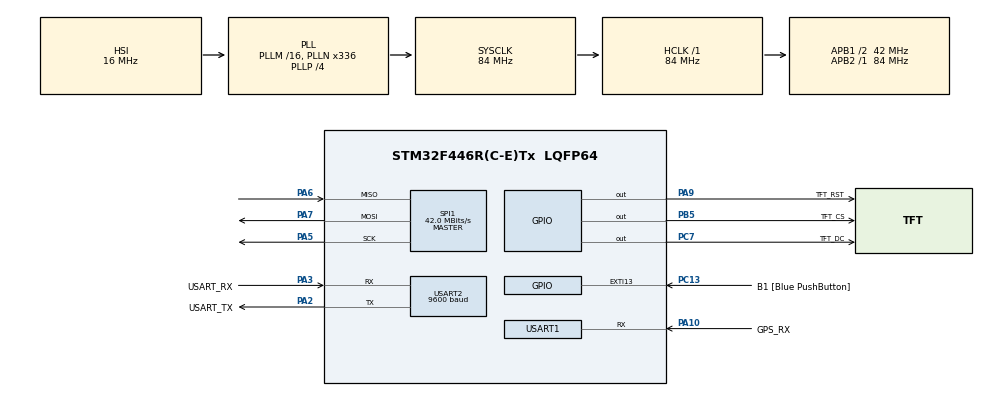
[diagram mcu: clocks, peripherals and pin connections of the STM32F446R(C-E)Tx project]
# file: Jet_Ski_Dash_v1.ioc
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Mcu.Family=STM32F4
Mcu.Name=STM32F446R(C-E)Tx
Mcu.Package=LQFP64
NVIC.PriorityGroup=NVIC_PRIORITYGROUP_0
NVIC.USART1_IRQn=true\:0\:0\:true\:false\:true\:true\:true\:true
PA13.GPIO_Label=TMS
PA13.Mode=Serial_Wire
PA13.Signal=SYS_JTMS-SWDIO
PA14.GPIO_Label=TCK
PA14.Mode=Serial_Wire
PA14.Signal=SYS_JTCK-SWCLK
PA2.GPIO_Label=USART_TX
PA2.Mode=Asynchronous
PA2.Signal=USART2_TX
PA10.GPIO_Label=GPS_RX
PA10.Mode=Asynchronous
PA10.Signal=USART1_RX
PA3.GPIO_Label=USART_RX
PA3.Mode=Asynchronous
PA3.Signal=USART2_RX
PA5.Mode=Full_Duplex_Master
PA5.Signal=SPI1_SCK
PA6.Mode=Full_Duplex_Master
PA6.Signal=SPI1_MISO
PA7.Mode=Full_Duplex_Master
PA7.Signal=SPI1_MOSI
PA9.GPIO_Label=TFT_RST
PA9.Signal=GPIO_Output
PB3.GPIO_Label=SWO
PB3.Signal=SYS_JTDO-SWO
PB5.GPIO_Label=TFT_CS
PB5.Signal=GPIO_Output
PC13.GPIO_Label=B1 [Blue PushButton]
PC13.GPIO_ModeDefaultEXTI=GPIO_MODE_IT_FALLING
PC13.Signal=GPXTI13
PC14-OSC32_IN.Mode=LSE-External-Oscillator
PC14-OSC32_IN.Signal=RCC_OSC32_IN
PC15-OSC32_OUT.Mode=LSE-External-Oscillator
PC15-OSC32_OUT.Signal=RCC_OSC32_OUT
PC7.GPIO_Label=TFT_DC
PC7.Signal=GPIO_Output
PH0-OSC_IN.Mode=HSE-External-Oscillator
PH0-OSC_IN.Signal=RCC_OSC_IN
PH1-OSC_OUT.Mode=HSE-External-Oscillator
PH1-OSC_OUT.Signal=RCC_OSC_OUT
ProjectManager.HeapSize=0x200
ProjectManager.StackSize=0x400
ProjectManager.TargetToolchain=STM32CubeIDE
RCC.48MHZClocksFreq_Value=84000000
RCC.AHBFreq_Value=84000000
RCC.APB1CLKDivider=RCC_HCLK_DIV2
RCC.APB1Freq_Value=42000000
RCC.APB1TimFreq_Value=84000000
RCC.APB2Freq_Value=84000000
RCC.APB2TimFreq_Value=84000000
RCC.CortexFreq_Value=84000000
RCC.FLatency-AdvancedSettings=FLASH_LATENCY_2
RCC.HCLKFreq_Value=84000000
RCC.HSE_VALUE=8000000
RCC.HSI_VALUE=16000000
RCC.PLLN=336
RCC.PLLP=RCC_PLLP_DIV4
RCC.SYSCLKFreq_VALUE=84000000
RCC.SYSCLKSource=RCC_SYSCLKSOURCE_PLLCLK
RCC.USBFreq_Value=168000000
RCC.VCOOutputFreq_Value=336000000
SPI1.BaudRatePrescaler=SPI_BAUDRATEPRESCALER_2
SPI1.CalculateBaudRate=42.0 MBits/s
SPI1.Direction=SPI_DIRECTION_2LINES
SPI1.Mode=SPI_MODE_MASTER
SPI1.VirtualType=VM_MASTER
USART1.BaudRate=9600
USART1.VirtualMode=VM_ASYNC
USART2.BaudRate=9600
USART2.VirtualMode=VM_ASYNC
board=NUCLEO-F446RE

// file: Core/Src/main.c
/* USER CODE BEGIN Header */
/**
  ******************************************************************************
  * @file           : main.c
  * @brief          : Main program body
  ******************************************************************************
  * @attention
  *
  * Copyright (c) 2026 STMicroelectronics.
  * All rights reserved.
  *
  * This software is licensed under terms that can be found in the LICENSE file
  * in the root directory of this software component.
  * If no LICENSE file comes with this software, it is provided AS-IS.
  *
  ******************************************************************************
  */
/* USER CODE END Header */
#include "main.h"

/* USER CODE BEGIN Includes */
#include "dash_ui.h"
#include "gps.h"
#include "st7796.h"

/* USER CODE END Includes */

/* USER CODE BEGIN PD */
/*
 * GPS receive debug:
 * 1U = while there is no valid RMC speed, show rx_byte_count % 200 on the big MPH digits.
 * This proves USART2 RX bytes are reaching the firmware before the NMEA parser matters.
 * Set back to 0U after the wiring/baud/IRQ path is confirmed.
 * Now that GPS is working, this can become 0U when you want a quiet boot screen.
 */
#define GPS_DEBUG_SHOW_RX_COUNT_AS_SPEED 0U

/*
 * Raw D2/PA10 edge test:
 * 1U = configure Arduino D2 / PA10 as a plain GPIO input and count pin transitions.
 * This bypasses USART2, baud rate, and the NMEA parser so we can prove whether the
 * GPS TX wire is electrically changing at the MCU pin.
 * Normal GPS mode keeps this at 0U and uses USART1_RX on the same PA10 pin.
 */
#define GPS_DEBUG_RAW_PA3_EDGE_TEST 0U
#define GPS_DEBUG_RX_Pin GPIO_PIN_10
#define GPS_DEBUG_RX_GPIO_Port GPIOA
#define GPS_DEBUG_RX_EXTI_IRQn EXTI15_10_IRQn

/* USER CODE END PD */

SPI_HandleTypeDef hspi1;

UART_HandleTypeDef huart2;
UART_HandleTypeDef huart1;

/* USER CODE BEGIN PV */
GPS_Data_t gps_data;
#if (GPS_DEBUG_RAW_PA3_EDGE_TEST != 0U)
static uint32_t gps_raw_pa3_edge_count = 0U;
static GPIO_PinState gps_raw_pa3_last_state = GPIO_PIN_RESET;
#endif

/* USER CODE END PV */

void SystemClock_Config(void);
static void MX_GPIO_Init(void);
static void MX_USART1_UART_Init(void);
static void MX_USART2_UART_Init(void);
static void MX_SPI1_Init(void);

/* USER CODE BEGIN 0 */
#if (GPS_DEBUG_RAW_PA3_EDGE_TEST != 0U)
static void GPS_DebugRawPa3Init(void)
{
  GPIO_InitTypeDef GPIO_InitStruct = {0};

  /*
   * D0/PA3 is tied to USART2 and the Nucleo ST-LINK virtual COM path. D2/PA10
   * gives this raw signal test a quieter input pin that should not be held high
   * by the debugger side of the board.
   */
  HAL_GPIO_DeInit(GPS_DEBUG_RX_GPIO_Port, GPS_DEBUG_RX_Pin);

  GPIO_InitStruct.Pin = GPS_DEBUG_RX_Pin;
  GPIO_InitStruct.Mode = GPIO_MODE_IT_RISING_FALLING;
  GPIO_InitStruct.Pull = GPIO_PULLDOWN;
  HAL_GPIO_Init(GPS_DEBUG_RX_GPIO_Port, &GPIO_InitStruct);

  gps_raw_pa3_last_state = HAL_GPIO_ReadPin(GPS_DEBUG_RX_GPIO_Port, GPS_DEBUG_RX_Pin);
  gps_raw_pa3_edge_count = 0U;

  /*
   * EXTI15_10 handles external interrupt lines 10 through 15. PA10 changes now
   * call HAL_GPIO_EXTI_Callback(), independent of UART baud.
   */
  HAL_NVIC_SetPriority(GPS_DEBUG_RX_EXTI_IRQn, 1, 0);
  HAL_NVIC_EnableIRQ(GPS_DEBUG_RX_EXTI_IRQn);
}
#endif

/* USER CODE END 0 */

int main(void)
{

  /* MCU Configuration--------------------------------------------------------*/

  /* Reset of all peripherals, Initializes the Flash interface and the Systick. */
  HAL_Init();

  /* Configure the system clock */
  SystemClock_Config();

  /* Initialize all configured peripherals */
  MX_GPIO_Init();
  /*
   * GPS is on USART1_RX / PA10 / Arduino D2. We moved away from USART2_RX / PA3
   * because PA3 is tied to the Nucleo ST-LINK virtual COM path and was held high.
   */
  MX_USART1_UART_Init();
  MX_USART2_UART_Init();
  MX_SPI1_Init();
  /* USER CODE BEGIN 2 */
  /* Bring up the TFT first, then draw the static dashboard shell. */
  ST7796_Init();
  DashUI_Init();
  DashUI_UpdateSpeed(0U);
#if (GPS_DEBUG_RAW_PA3_EDGE_TEST != 0U)
  GPS_DebugRawPa3Init();
#else
  /*
   * Try to put the GPS into a faster 10 Hz update mode before starting RX.
   * Command path wiring required for this:
   *   Nucleo PA2 / Arduino D1 / USART2_TX -> GPS RX
   *
   * GPS data still comes back on:
   *   GPS TX -> PA10 / Arduino D2 / USART1_RX
   */
  GPS_SendStartupConfig(&huart2);
  GPS_Init(&huart1);
#endif

  /* USER CODE END 2 */

  /* Infinite loop */
  while (1)
  {

    /* USER CODE BEGIN 3 */
#if (GPS_DEBUG_RAW_PA3_EDGE_TEST != 0U)
    DashUI_UpdateGpsStatus((gps_raw_pa3_last_state == GPIO_PIN_SET) ? 1U : 0U,
                           (gps_raw_pa3_last_state == GPIO_PIN_RESET) ? 1U : 0U,
                           (gps_raw_pa3_edge_count > 0U) ? 1U : 0U);
    DashUI_UpdateSpeed((uint16_t)(gps_raw_pa3_edge_count % 200U));
#else
    GPS_Task();
    gps_data = GPS_GetData();
    DashUI_UpdateGpsStatus((gps_data.rx_byte_count > 0U) ? 1U : 0U,
                           (gps_data.line_count > 0U) ? 1U : 0U,
                           gps_data.has_fix);
    if (gps_data.speed_valid != 0U)
    {
      DashUI_UpdateSpeed(gps_data.speed_mph);
    }
#if (GPS_DEBUG_SHOW_RX_COUNT_AS_SPEED != 0U)
    else
    {
      DashUI_UpdateSpeed((uint16_t)(gps_data.rx_byte_count % 200U));
    }
#endif
    HAL_Delay(5);
#endif
  }
  /* USER CODE END 3 */
}

void SystemClock_Config(void)
{
  RCC_OscInitTypeDef RCC_OscInitStruct = {0};
  RCC_ClkInitTypeDef RCC_ClkInitStruct = {0};

  /** Configure the main internal regulator output voltage
  */
  __HAL_RCC_PWR_CLK_ENABLE();
  __HAL_PWR_VOLTAGESCALING_CONFIG(PWR_REGULATOR_VOLTAGE_SCALE3);

  /** Initializes the RCC Oscillators according to the specified parameters
  * in the RCC_OscInitTypeDef structure.
  */
  RCC_OscInitStruct.OscillatorType = RCC_OSCILLATORTYPE_HSI;
  RCC_OscInitStruct.HSIState = RCC_HSI_ON;
  RCC_OscInitStruct.HSICalibrationValue = RCC_HSICALIBRATION_DEFAULT;
  RCC_OscInitStruct.PLL.PLLState = RCC_PLL_ON;
  RCC_OscInitStruct.PLL.PLLSource = RCC_PLLSOURCE_HSI;
  RCC_OscInitStruct.PLL.PLLM = 16;
  RCC_OscInitStruct.PLL.PLLN = 336;
  RCC_OscInitStruct.PLL.PLLP = RCC_PLLP_DIV4;
  RCC_OscInitStruct.PLL.PLLQ = 2;
  RCC_OscInitStruct.PLL.PLLR = 2;
  if (HAL_RCC_OscConfig(&RCC_OscInitStruct) != HAL_OK)
  {
    Error_Handler();
  }

  /** Initializes the CPU, AHB and APB buses clocks
  */
  RCC_ClkInitStruct.ClockType = RCC_CLOCKTYPE_HCLK|RCC_CLOCKTYPE_SYSCLK
                              |RCC_CLOCKTYPE_PCLK1|RCC_CLOCKTYPE_PCLK2;
  RCC_ClkInitStruct.SYSCLKSource = RCC_SYSCLKSOURCE_PLLCLK;
  RCC_ClkInitStruct.AHBCLKDivider = RCC_SYSCLK_DIV1;
  RCC_ClkInitStruct.APB1CLKDivider = RCC_HCLK_DIV2;
  RCC_ClkInitStruct.APB2CLKDivider = RCC_HCLK_DIV1;

  if (HAL_RCC_ClockConfig(&RCC_ClkInitStruct, FLASH_LATENCY_2) != HAL_OK)
  {
    Error_Handler();
  }
}

static void MX_SPI1_Init(void)
{

  /* SPI1 parameter configuration*/
  hspi1.Instance = SPI1;
  hspi1.Init.Mode = SPI_MODE_MASTER;
  hspi1.Init.Direction = SPI_DIRECTION_2LINES;
  hspi1.Init.DataSize = SPI_DATASIZE_8BIT;
  hspi1.Init.CLKPolarity = SPI_POLARITY_LOW;
  hspi1.Init.CLKPhase = SPI_PHASE_1EDGE;
  hspi1.Init.NSS = SPI_NSS_SOFT;
  hspi1.Init.BaudRatePrescaler = SPI_BAUDRATEPRESCALER_2;
  hspi1.Init.FirstBit = SPI_FIRSTBIT_MSB;
  hspi1.Init.TIMode = SPI_TIMODE_DISABLE;
  hspi1.Init.CRCCalculation = SPI_CRCCALCULATION_DISABLE;
  hspi1.Init.CRCPolynomial = 10;
  if (HAL_SPI_Init(&hspi1) != HAL_OK)
  {
    Error_Handler();
  }

}

static void MX_USART1_UART_Init(void)
{

  huart1.Instance = USART1;
  /*
   * ATGM336H modules commonly output NMEA at 9600 baud, 8 data bits, no parity,
   * 1 stop bit. UART_MODE_RX is enough because we only listen to GPS TX for now.
   */
  huart1.Init.BaudRate = 9600;
  huart1.Init.WordLength = UART_WORDLENGTH_8B;
  huart1.Init.StopBits = UART_STOPBITS_1;
  huart1.Init.Parity = UART_PARITY_NONE;
  huart1.Init.Mode = UART_MODE_RX;
  huart1.Init.HwFlowCtl = UART_HWCONTROL_NONE;
  huart1.Init.OverSampling = UART_OVERSAMPLING_16;
  if (HAL_UART_Init(&huart1) != HAL_OK)
  {
    Error_Handler();
  }

}

static void MX_USART2_UART_Init(void)
{

  huart2.Instance = USART2;
  huart2.Init.BaudRate = 9600;
  huart2.Init.WordLength = UART_WORDLENGTH_8B;
  huart2.Init.StopBits = UART_STOPBITS_1;
  huart2.Init.Parity = UART_PARITY_NONE;
  huart2.Init.Mode = UART_MODE_TX_RX;
  huart2.Init.HwFlowCtl = UART_HWCONTROL_NONE;
  huart2.Init.OverSampling = UART_OVERSAMPLING_16;
  if (HAL_UART_Init(&huart2) != HAL_OK)
  {
    Error_Handler();
  }

}

static void MX_GPIO_Init(void)
{
  GPIO_InitTypeDef GPIO_InitStruct = {0};

  /* GPIO Ports Clock Enable */
  __HAL_RCC_GPIOC_CLK_ENABLE();
  __HAL_RCC_GPIOH_CLK_ENABLE();
  __HAL_RCC_GPIOA_CLK_ENABLE();
  __HAL_RCC_GPIOB_CLK_ENABLE();

  /*Configure GPIO pin Output Level */
  HAL_GPIO_WritePin(TFT_DC_GPIO_Port, TFT_DC_Pin, GPIO_PIN_RESET);

  /*Configure GPIO pin Output Level */
  HAL_GPIO_WritePin(TFT_RST_GPIO_Port, TFT_RST_Pin, GPIO_PIN_RESET);

  /*Configure GPIO pin Output Level */
  HAL_GPIO_WritePin(TFT_CS_GPIO_Port, TFT_CS_Pin, GPIO_PIN_RESET);

  /*Configure GPIO pin : B1_Pin */
  GPIO_InitStruct.Pin = B1_Pin;
  GPIO_InitStruct.Mode = GPIO_MODE_IT_FALLING;
  GPIO_InitStruct.Pull = GPIO_NOPULL;
  HAL_GPIO_Init(B1_GPIO_Port, &GPIO_InitStruct);

  /*Configure GPIO pin : TFT_DC_Pin */
  GPIO_InitStruct.Pin = TFT_DC_Pin;
  GPIO_InitStruct.Mode = GPIO_MODE_OUTPUT_PP;
  GPIO_InitStruct.Pull = GPIO_NOPULL;
  GPIO_InitStruct.Speed = GPIO_SPEED_FREQ_LOW;
  HAL_GPIO_Init(TFT_DC_GPIO_Port, &GPIO_InitStruct);

  /*Configure GPIO pin : TFT_RST_Pin */
  GPIO_InitStruct.Pin = TFT_RST_Pin;
  GPIO_InitStruct.Mode = GPIO_MODE_OUTPUT_PP;
  GPIO_InitStruct.Pull = GPIO_NOPULL;
  GPIO_InitStruct.Speed = GPIO_SPEED_FREQ_LOW;
  HAL_GPIO_Init(TFT_RST_GPIO_Port, &GPIO_InitStruct);

  /*Configure GPIO pin : TFT_CS_Pin */
  GPIO_InitStruct.Pin = TFT_CS_Pin;
  GPIO_InitStruct.Mode = GPIO_MODE_OUTPUT_PP;
  GPIO_InitStruct.Pull = GPIO_NOPULL;
  GPIO_InitStruct.Speed = GPIO_SPEED_FREQ_LOW;
  HAL_GPIO_Init(TFT_CS_GPIO_Port, &GPIO_InitStruct);

}

/* USER CODE BEGIN 4 */
#if (GPS_DEBUG_RAW_PA3_EDGE_TEST != 0U)
void HAL_GPIO_EXTI_Callback(uint16_t GPIO_Pin)
{
  if (GPIO_Pin == GPS_DEBUG_RX_Pin)
  {
    gps_raw_pa3_last_state = HAL_GPIO_ReadPin(GPS_DEBUG_RX_GPIO_Port, GPS_DEBUG_RX_Pin);
    gps_raw_pa3_edge_count++;
  }
}
#endif

/* USER CODE END 4 */

void Error_Handler(void)
{
  __disable_irq();
  while (1)
  {
  }
}
